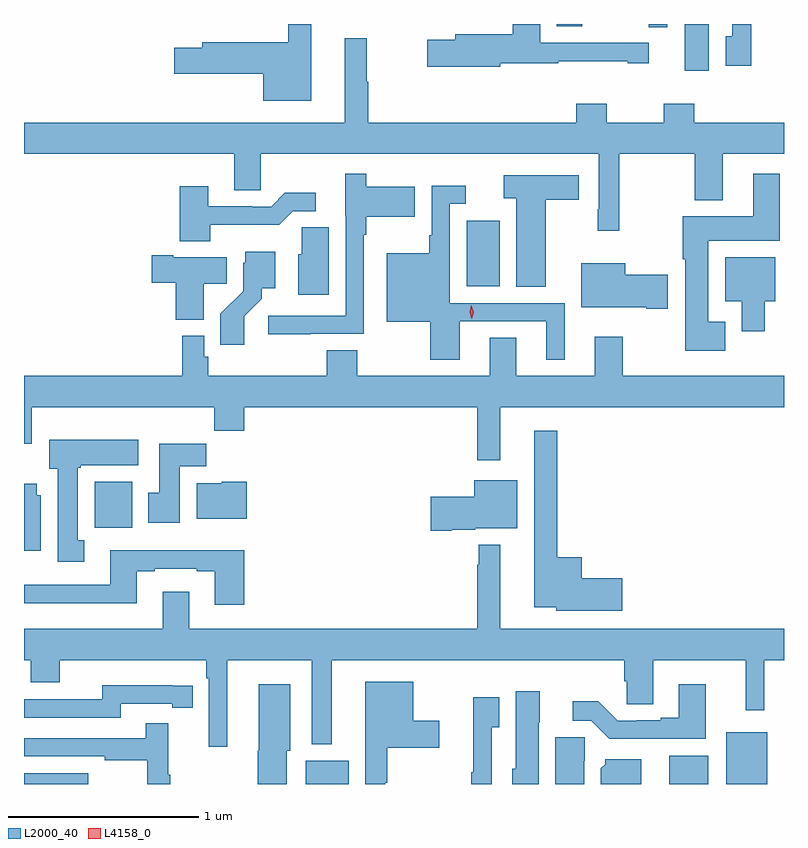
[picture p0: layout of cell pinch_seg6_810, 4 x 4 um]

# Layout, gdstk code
import gdstk
lib = gdstk.Library(unit=1e-6, precision=1e-09)
def R(c, l, rs):  # rectangles x0, y0, x1, y1
    for r in rs: c.add(gdstk.rectangle(r[:2], r[2:], *l))
def P(c, l, *ps):  # polygons
    for p in ps: c.add(gdstk.Polygon(p, *l))
L2000_40 = (2000, 40)
L4158_0 = (4158, 0)

pinch_seg6_810 = lib.new_cell('pinch_seg6_810')
R(pinch_seg6_810, L2000_40, [(168.764,964,169.102,964.057), (170.246,964,170.473,964.123), (172.16,964,172.366,964.15), (172.46,964,172.675,964.273), (169.136,965.348,169.333,965.59), (171.095,966.62,171.268,966.964), (172.241,967.755,172.369,968), (172.053,967.983,172.149,968), (171.569,967.987,171.703,968)])
P(pinch_seg6_810, L2000_40, [(172.592,968),(172.491,968),(172.491,967.935),(172.457,967.935),(172.457,967.779),(172.592,967.779)],
  [(171.27,967.794),(171.577,967.794),(171.577,967.804),(171.941,967.804),(171.941,967.794),(172.053,967.794),(172.053,967.902),(171.481,967.902),(171.481,968),(171.336,968),(171.336,967.946),(171.035,967.946),(171.035,967.916),(170.886,967.916),(170.886,967.774),(171.27,967.774)],
  [(170.275,968),(170.154,968),(170.154,967.904),(169.703,967.904),(169.703,967.874),(169.554,967.874),(169.554,967.739),(170.024,967.739),(170.024,967.595),(170.275,967.595)],
  [(171.898,967.316),(172.294,967.316),(172.294,967.073),(172.441,967.073),(172.441,967.316),(172.764,967.316),(172.764,967.48),(172.292,967.48),(172.292,967.579),(172.132,967.579),(172.132,967.48),(171.831,967.48),(171.831,967.579),(171.671,967.579),(171.671,967.48),(170.575,967.48),(170.575,967.697),(170.567,967.697),(170.567,967.924),(170.453,967.924),(170.453,967.48),(168.764,967.48),(168.764,967.316),(169.871,967.316),(169.871,967.126),(170.01,967.126),(170.01,967.316),(171.789,967.316),(171.789,967.024),(171.784,967.024),(171.784,966.912),(171.898,966.912)],
  [(172.456,966.433),(172.366,966.433),(172.366,966.86),(172.741,966.86),(172.741,967.213),(172.601,967.213),(172.601,966.988),(172.232,966.988),(172.232,966.763),(172.244,966.763),(172.244,966.281),(172.456,966.281)],
  [(170.273,966.369),(170.553,966.369),(170.553,966.89),(170.566,966.89),(170.566,966.986),(170.821,966.986),(170.821,967.144),(170.566,967.144),(170.566,967.213),(170.456,967.213),(170.456,966.99),(170.457,966.99),(170.457,966.465),(170.049,966.465),(170.049,966.367),(170.273,966.367)],
  [(171.511,967.075),(171.685,967.075),(171.685,967.204),(171.288,967.204),(171.288,967.082),(171.356,967.082),(171.356,966.616),(171.511,966.616)],
  [(171.058,966.435),(171.512,966.435),(171.512,966.234),(171.61,966.234),(171.61,966.531),(171.006,966.531),(171.006,967.053),(171.088,967.053),(171.088,967.15),(170.91,967.15),(170.91,966.889),(170.898,966.889),(170.898,966.793),(170.672,966.793),(170.672,966.434),(170.902,966.434),(170.902,966.234),(171.058,966.234)],
  [(169.743,966.944),(170.107,966.944),(170.178,967.014),(170.299,967.014),(170.299,967.111),(170.137,967.111),(170.064,967.038),(169.964,967.038),(169.964,967.041),(169.735,967.041),(169.735,967.147),(169.583,967.147),(169.583,966.857),(169.743,966.857)],
  [(170.368,966.929),(170.226,966.929),(170.226,966.789),(170.207,966.789),(170.207,966.576),(170.368,966.576)],
  [(169.924,966.463),(170.014,966.553),(170.014,966.608),(170.086,966.608),(170.086,966.802),(169.928,966.802),(169.928,966.744),(169.917,966.744),(169.917,966.593),(169.798,966.474),(169.798,966.312),(169.924,966.312)],
  [(169.711,966.634),(169.832,966.634),(169.832,966.772),(169.549,966.772),(169.549,966.784),(169.437,966.784),(169.437,966.638),(169.562,966.638),(169.562,966.443),(169.711,966.443)],
  [(172.663,966.542),(172.717,966.542),(172.717,966.772),(172.454,966.772),(172.454,966.542),(172.541,966.542),(172.541,966.384),(172.663,966.384)],
  [(172.153,966.68),(171.928,966.68),(171.928,966.742),(171.698,966.742),(171.698,966.509),(172.04,966.509),(172.04,966.502),(172.153,966.502)],
  [(171.271,965.984),(172.764,965.984),(172.764,966.148),(171.915,966.148),(171.915,966.355),(171.767,966.355),(171.767,966.148),(171.355,966.148),(171.355,966.35),(171.215,966.35),(171.215,966.148),(170.517,966.148),(170.517,966.284),(170.357,966.284),(170.357,966.148),(169.733,966.148),(169.733,966.249),(169.713,966.249),(169.713,966.358),(169.597,966.358),(169.597,966.148),(168.764,966.148),(168.764,965.79),(168.805,965.79),(168.805,965.984),(169.765,965.984),(169.765,965.86),(169.922,965.86),(169.922,965.984),(171.15,965.984),(171.15,965.703),(171.271,965.703)],
  [(171.913,965.084),(171.7,965.084),(171.7,965.194),(171.571,965.194),(171.571,965.86),(171.449,965.86),(171.449,964.931),(171.564,964.931),(171.564,964.913),(171.913,964.913)],
  [(169.081,965.282),(169.048,965.282),(169.048,965.665),(169.062,965.665),(169.062,965.678),(169.366,965.678),(169.366,965.812),(168.896,965.812),(168.896,965.658),(168.941,965.658),(168.941,965.169),(169.081,965.169)],
  [(169.585,965.672),(169.724,965.672),(169.724,965.791),(169.475,965.791),(169.475,965.532),(169.418,965.532),(169.418,965.376),(169.585,965.376)],
  [(171.016,965.339),(171.138,965.339),(171.138,965.345),(171.361,965.345),(171.361,965.599),(171.134,965.599),(171.134,965.511),(170.904,965.511),(170.904,965.333),(171.016,965.333)],
  [(169.937,965.59),(169.806,965.59),(169.806,965.584),(169.673,965.584),(169.673,965.396),(169.937,965.396)],
  [(168.853,965.52),(168.832,965.52),(168.832,965.581),(168.764,965.581),(168.764,965.228),(168.853,965.228)],
  [(169.834,964.652),(170.279,964.652),(170.279,964.208),(170.383,964.208),(170.383,964.652),(171.923,964.652),(171.923,964.542),(171.936,964.542),(171.936,964.42),(172.075,964.42),(172.075,964.652),(172.562,964.652),(172.562,964.389),(172.66,964.389),(172.66,964.652),(172.764,964.652),(172.764,964.816),(171.271,964.816),(171.271,965.26),(171.157,965.26),(171.157,965.153),(171.15,965.153),(171.15,964.816),(169.633,964.816),(169.633,965.011),(169.493,965.011),(169.493,964.816),(168.764,964.816),(168.764,964.652),(168.8,964.652),(168.8,964.535),(168.952,964.535),(168.952,964.652),(169.724,964.652),(169.724,964.556),(169.737,964.556),(169.737,964.197),(169.834,964.197)],
  [(169.922,965.23),(169.217,965.23),(169.217,965.049),(168.764,965.049),(168.764,964.952),(169.357,964.952),(169.357,965.121),(169.453,965.121),(169.453,965.133),(169.673,965.133),(169.673,965.121),(169.769,965.121),(169.769,964.944),(169.922,964.944)],
  [(170.665,964.006),(170.675,964.006),(170.675,964.19),(170.95,964.19),(170.95,964.332),(170.812,964.332),(170.812,964.537),(170.561,964.537),(170.561,964),(170.665,964)],
  [(172.351,964.525),(172.211,964.525),(172.211,964.348),(172.115,964.348),(172.115,964.335),(171.988,964.335),(171.988,964.332),(171.888,964.332),(171.786,964.435),(171.651,964.435),(171.651,964.332),(171.75,964.332),(171.844,964.238),(172.351,964.238)],
  [(170.146,964.176),(170.164,964.176),(170.164,964.525),(170,964.525),(170,964.176),(169.993,964.176),(169.993,964),(170.146,964)],
  [(169.272,964.422),(169.544,964.422),(169.544,964.402),(169.652,964.402),(169.652,964.518),(169.544,964.518),(169.544,964.519),(169.176,964.519),(169.176,964.446),(168.764,964.446),(168.764,964.35),(169.272,964.35)],
  [(171.472,964.326),(171.478,964.326),(171.478,964.489),(171.353,964.489),(171.353,964.08),(171.335,964.08),(171.335,964),(171.472,964)],
  [(171.225,964.3),(171.265,964.3),(171.265,964.456),(171.128,964.456),(171.128,964.061),(171.117,964.061),(171.117,964),(171.225,964)],
  [(169.534,964.049),(169.523,964.049),(169.523,964.321),(169.405,964.321),(169.405,964.242),(168.764,964.242),(168.764,964.146),(169.189,964.146),(169.189,964.126),(169.413,964.126),(169.413,964),(169.534,964)],
  [(171.712,964.122),(171.716,964.122),(171.716,964.245),(171.56,964.245),(171.56,964),(171.712,964)],
  [(172.012,964.129),(171.822,964.129),(171.822,964.104),(171.8,964.082),(171.8,964),(172.012,964)])
P(pinch_seg6_810, L4158_0, [(171.121,966.448),(171.121,966.448),(171.11,966.483),(171.119,966.519),(171.119,966.519),(171.119,966.519),(171.13,966.484),(171.121,966.448)])

lib.write_gds('pinch_seg6_810.gds')
